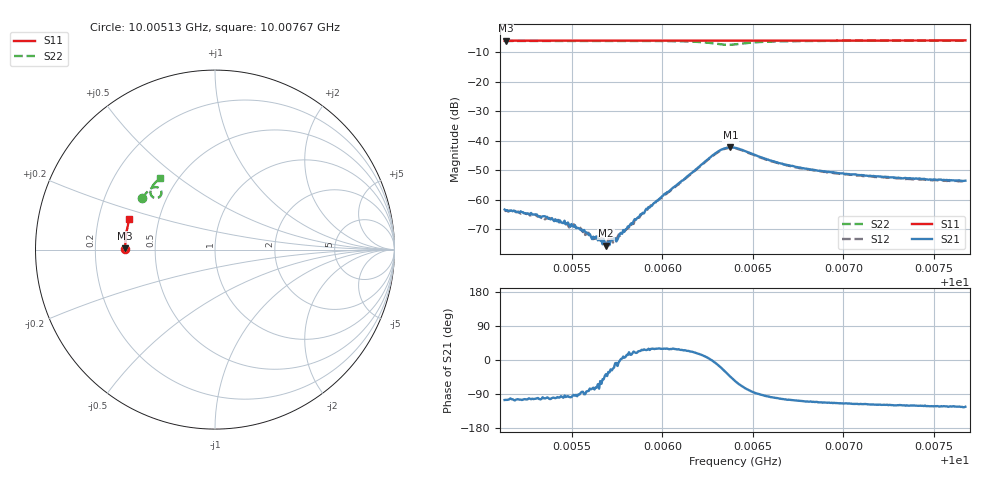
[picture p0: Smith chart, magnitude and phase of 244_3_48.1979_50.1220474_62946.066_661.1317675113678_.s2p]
#  HZ  S  RI  R  50.00
! Rohde & Schwarz Vector Network Analyzer
! Rohde-Schwarz,ZNB20-2Port,1311601062101988,3.16
! Created: UTC 3/20/2024, 11:46:59 AM
! freq[Hz]  re:S11  im:S11  re:S21  im:S21  re:S12  im:S12  re:S22  im:S22
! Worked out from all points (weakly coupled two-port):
!   401 points, 10.00513 GHz to 10.00767 GHz, reference 50 ohm
!   highest |S21| = -42.23 dB at 10.00638 GHz (marker M1); lowest = -75.7 dB at 10.00569 GHz (marker M2)
!   lowest |S11| = -6.0 dB at 10.00513 GHz (marker M3), VSWR 3.00, Z = 16.7 + j0.279 ohm
!   |S11| at or under -10 dB: nowhere
!   |S22| runs from -7.4 to -6.0 dB; largest |S21 - S12| = 0.00044
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1.0005128e10  -0.5 0.006  -0.000182 -0.000655  -0.000125 -0.000643  -0.4045 0.2854
1.0005134e10  -0.4998 0.00628  -0.000173 -0.000638  -0.000144 -0.000626  -0.4043 0.2857
1.0005351e10  -0.5 0.0204  -0.000102 -0.000511  -6.67e-05 -0.000459  -0.3956 0.2988
1.0005434e10  -0.5 0.0259  -6.64e-05 -0.00044  -4.79e-05 -0.000408  -0.3921 0.3037
1.0005555e10  -0.4996 0.0336  3.25e-05 -0.00031  2.99e-05 -0.000297  -0.3869 0.3111
1.0005612e10  -0.4995 0.0373  5.32e-05 -0.000207  7.41e-05 -0.000237  -0.3839 0.3145
1.000565e10  -0.4995 0.0399  5.38e-05 -0.00021  8.72e-05 -0.000194  -0.382 0.317
1.0005688e10  -0.4992 0.0424  0.000131 -9.96e-05  0.00011 -0.00012  -0.3798 0.3191
1.0005695e10  -0.4992 0.0428  0.000131 -0.000119  0.000143 -0.000116  -0.3796 0.3196
1.0005707e10  -0.4991 0.0435  0.000142 -9.13e-05  0.000166 -8.11e-05  -0.3788 0.3205
1.0005726e10  -0.499 0.0448  0.000193 -8.13e-05  0.000181 -4.95e-05  -0.3777 0.3216
1.0005739e10  -0.4989 0.0457  0.000219 -3.28e-05  0.000188 -4.79e-05  -0.3771 0.3225
1.0005924e10  -0.4981 0.0575  0.000652 0.000373  0.000635 0.000376  -0.3649 0.3346
1.0005981e10  -0.4979 0.0613  0.000875 0.000521  0.000856 0.000541  -0.3598 0.3385
1.0006287e10  -0.4952 0.0811  0.00587 -0.000592  0.00579 -0.000248  -0.3021 0.3317
1.0006331e10  -0.4946 0.0836  0.00658 -0.00285  0.00659 -0.00246  -0.2988 0.3105
1.0006376e10  -0.4942 0.0861  0.00555 -0.00539  0.00568 -0.00499  -0.3126 0.291
1.0006401e10  -0.4942 0.0877  0.00432 -0.00627  0.00453 -0.00588  -0.325 0.2868
1.0006611e10  -0.4924 0.1011  -0.000702 -0.00445  -0.000462 -0.00439  -0.3595 0.3252
1.0006828e10  -0.4901 0.1149  -0.00114 -0.00303  -0.000965 -0.00304  -0.3507 0.3494
1.0007254e10  -0.4839 0.1418  -0.00114 -0.0021  -0.00104 -0.00212  -0.3289 0.3771
1.0007674e10  -0.4766 0.1678  -0.00115 -0.00176  -0.00104 -0.00174  -0.3075 0.3977
